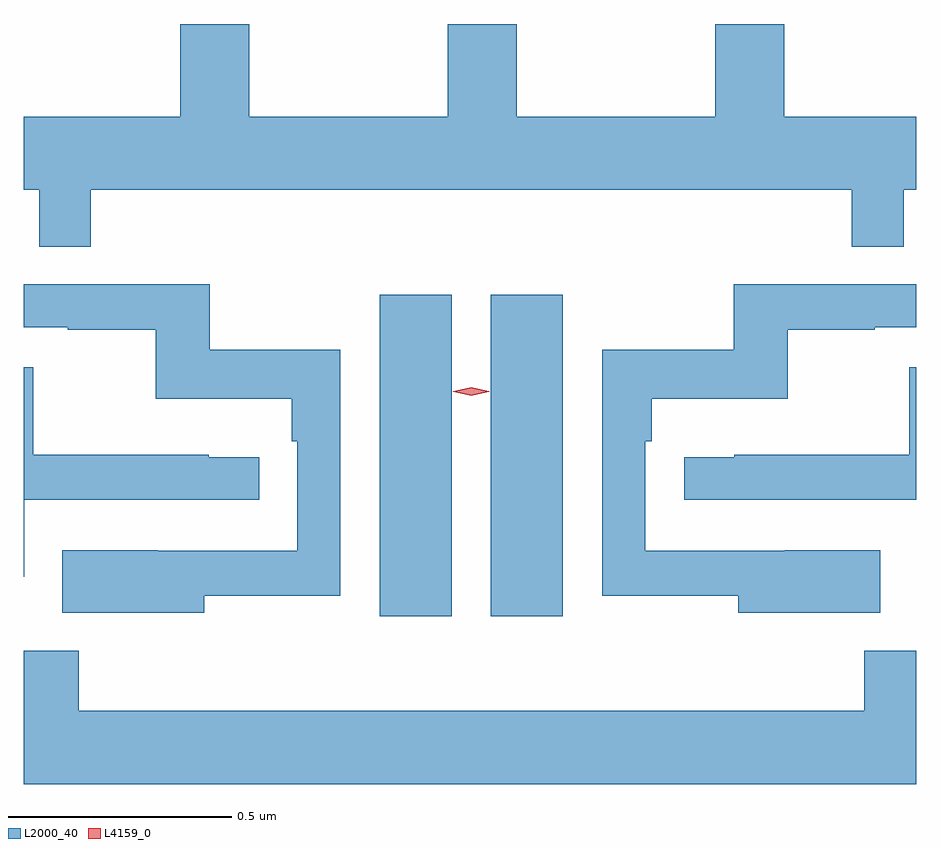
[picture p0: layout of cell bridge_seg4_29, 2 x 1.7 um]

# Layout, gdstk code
import gdstk
lib = gdstk.Library(unit=1e-6, precision=1e-09)
def R(c, l, rs):  # rectangles x0, y0, x1, y1
    for r in rs: c.add(gdstk.rectangle(r[:2], r[2:], *l))
def P(c, l, *ps):  # polygons
    for p in ps: c.add(gdstk.Polygon(p, *l))
L2000_40 = (2000, 40)
L4159_0 = (4159, 0)

bridge_seg4_29 = lib.new_cell('bridge_seg4_29')
R(bridge_seg4_29, L2000_40, [(1071.755,750.576,1071.916,751.297), (1072.004,750.576,1072.165,751.297)])
P(bridge_seg4_29, L2000_40, [(1071.107,751.532),(1072.813,751.532),(1072.813,751.405),(1072.929,751.405),(1072.929,751.532),(1072.957,751.532),(1072.957,751.696),(1072.662,751.696),(1072.662,751.904),(1072.507,751.904),(1072.507,751.696),(1072.062,751.696),(1072.062,751.904),(1071.907,751.904),(1071.907,751.696),(1071.462,751.696),(1071.462,751.904),(1071.307,751.904),(1071.307,751.696),(1070.957,751.696),(1070.957,751.532),(1070.991,751.532),(1070.991,751.405),(1071.107,751.405)],
  [(1071.361,750.622),(1071.666,750.622),(1071.666,751.174),(1071.373,751.174),(1071.373,751.32),(1070.957,751.32),(1070.957,751.224),(1071.055,751.224),(1071.055,751.219),(1071.252,751.219),(1071.252,751.064),(1071.557,751.064),(1071.557,750.968),(1071.57,750.968),(1071.57,750.723),(1071.257,750.723),(1071.257,750.724),(1071.043,750.724),(1071.043,750.584),(1071.361,750.584)],
  [(1072.877,750.724),(1072.663,750.724),(1072.663,750.723),(1072.35,750.723),(1072.35,750.968),(1072.364,750.968),(1072.364,751.064),(1072.669,751.064),(1072.669,751.219),(1072.865,751.219),(1072.865,751.224),(1072.957,751.224),(1072.957,751.32),(1072.548,751.32),(1072.548,751.174),(1072.254,751.174),(1072.254,750.622),(1072.559,750.622),(1072.559,750.584),(1072.877,750.584)],
  [(1072.957,751.134),(1072.942,751.134),(1072.942,750.938),(1072.549,750.938),(1072.549,750.933),(1072.437,750.933),(1072.437,750.837),(1072.957,750.837)],
  [(1070.958,750.837),(1071.484,750.837),(1071.484,750.933),(1071.371,750.933),(1071.371,750.938),(1070.978,750.938),(1070.978,751.134),(1070.957,751.134),(1070.957,750.665),(1070.958,750.665)],
  [(1072.957,750.499),(1072.841,750.499),(1072.841,750.364),(1071.08,750.364),(1071.08,750.499),(1070.957,750.499),(1070.957,750.2),(1072.957,750.2)])
P(bridge_seg4_29, L4159_0, [(1071.96,751.07),(1071.92,751.08),(1071.92,751.08),(1071.92,751.081),(1071.96,751.09),(1072,751.081),(1072,751.08),(1072,751.08)])

lib.write_gds('bridge_seg4_29.gds')
